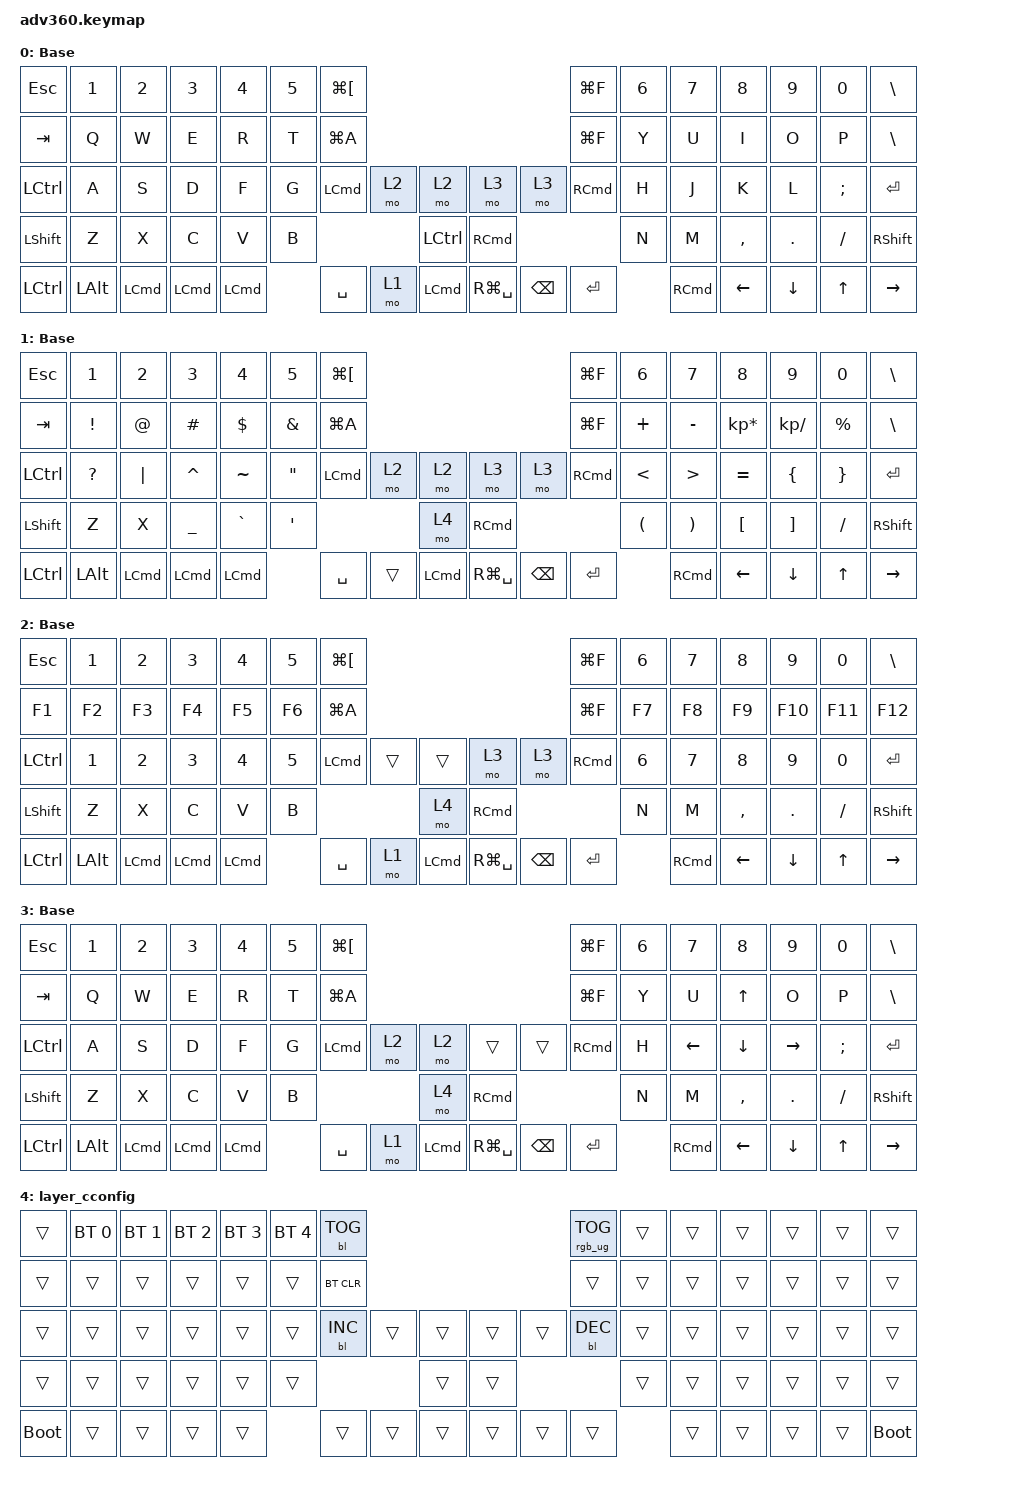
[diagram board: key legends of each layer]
#include <dt-bindings/zmk/stp.h>
#include <behaviors.dtsi>
#include <dt-bindings/zmk/backlight.h>
#include <dt-bindings/zmk/bt.h>
#include <dt-bindings/zmk/keys.h>
#include <dt-bindings/zmk/rgb.h>

/ {
    behaviors {
        #include "macros.dtsi"
      #include "version.dtsi"

        hm: homerow_mods {
            compatible = "zmk,behavior-hold-tap";
            label = "HOMEROW_MODS";
            #binding-cells = <2>;
            tapping-term-ms = <200>;
            quick_tap_ms = <175>;
            flavor = "tap-preferred";
            bindings = <&kp>, <&kp>;
        };
    };

    keymap {
        compatible = "zmk,keymap";

        default_layer {
            display-name = "Base";
            bindings = <
&kp ESC           &kp N1        &kp N2            &kp N3            &kp N4            &kp N5  &kp LG(LEFT_BRACKET)                                                            &kp LG(F)          &kp N6  &kp N7             &kp N8          &kp N9          &kp N0        &kp BACKSLASH
&kp TAB           &kp Q         &kp W             &kp E             &kp R             &kp T   &kp LG(A)                                                                       &kp LG(F)          &kp Y   &kp U              &kp I           &kp O           &kp P         &kp BSLH
&kp LCTRL         &kp A         &kp S             &kp D             &kp F             &kp G   &kp LEFT_COMMAND      &mo 2  &mo 2                 &mo 3              &mo 3     &kp RIGHT_COMMAND  &kp H   &kp J              &kp K           &kp L           &kp SEMI      &kp ENTER
&kp LSHFT         &kp Z         &kp X             &kp C             &kp V             &kp B                                &kp LEFT_CONTROL      &kp RIGHT_COMMAND                               &kp N   &kp M              &kp COMMA       &kp DOT         &kp FSLH      &kp RSHFT
&kp LEFT_CONTROL  &kp LEFT_ALT  &kp LEFT_COMMAND  &kp LEFT_COMMAND  &kp LEFT_COMMAND          &kp SPACE             &mo 1  &kp LEFT_COMMAND      &kp RG(SPACE)      &kp BSPC  &kp ENTER                  &kp RIGHT_COMMAND  &kp LEFT_ARROW  &kp DOWN_ARROW  &kp UP_ARROW  &kp RIGHT_ARROW
            >;
        };

        layer_symbol {
            display-name = "Base";
            bindings = <
&kp ESC           &kp N1        &kp N2            &kp N3            &kp N4            &kp N5             &kp LG(LEFT_BRACKET)                                                             &kp LG(F)          &kp N6                &kp N7                 &kp N8            &kp N9             &kp N0           &kp BACKSLASH
&kp TAB           &kp EXCL      &kp AT            &kp HASH          &kp DOLLAR        &kp AMPERSAND      &kp LG(A)                                                                        &kp LG(F)          &kp PLUS              &kp MINUS              &kp KP_MULTIPLY   &kp KP_SLASH       &kp PERCENT      &kp BSLH
&kp LCTRL         &kp QUESTION  &kp PIPE          &kp CARET         &kp TILDE         &kp DOUBLE_QUOTES  &kp LEFT_COMMAND      &mo 2   &mo 2                 &mo 3              &mo 3     &kp RIGHT_COMMAND  &kp LESS_THAN         &kp GREATER_THAN       &kp EQUAL         &kp LEFT_BRACE     &kp RIGHT_BRACE  &kp ENTER
&kp LSHFT         &kp Z         &kp X             &kp UNDERSCORE    &kp GRAVE         &kp SQT                                          &mo 4                 &kp RIGHT_COMMAND                               &kp LEFT_PARENTHESIS  &kp RIGHT_PARENTHESIS  &kp LEFT_BRACKET  &kp RIGHT_BRACKET  &kp FSLH         &kp RSHFT
&kp LEFT_CONTROL  &kp LEFT_ALT  &kp LEFT_COMMAND  &kp LEFT_COMMAND  &kp LEFT_COMMAND                     &kp SPACE             &trans  &kp LEFT_COMMAND      &kp RG(SPACE)      &kp BSPC  &kp ENTER                                &kp RIGHT_COMMAND      &kp LEFT_ARROW    &kp DOWN_ARROW     &kp UP_ARROW     &kp RIGHT_ARROW
            >;
        };

        layer_number {
            display-name = "Base";
            bindings = <
&kp ESC           &kp N1        &kp N2            &kp N3            &kp N4            &kp N5        &kp LG(LEFT_BRACKET)                                                             &kp LG(F)          &kp N6        &kp N7             &kp N8          &kp N9          &kp N0        &kp BACKSLASH
&kp F1            &kp F2        &kp F3            &kp F4            &kp F5            &kp F6        &kp LG(A)                                                                        &kp LG(F)          &kp F7        &kp F8             &kp F9          &kp F10         &kp F11       &kp F12
&kp LCTRL         &kp NUMBER_1  &kp NUMBER_2      &kp NUMBER_3      &kp NUMBER_4      &kp NUMBER_5  &kp LEFT_COMMAND      &trans  &trans                &mo 3              &mo 3     &kp RIGHT_COMMAND  &kp NUMBER_6  &kp NUMBER_7       &kp NUMBER_8    &kp NUMBER_9    &kp NUMBER_0  &kp ENTER
&kp LSHFT         &kp Z         &kp X             &kp C             &kp V             &kp B                                       &mo 4                 &kp RIGHT_COMMAND                               &kp N         &kp M              &kp COMMA       &kp DOT         &kp FSLH      &kp RSHFT
&kp LEFT_CONTROL  &kp LEFT_ALT  &kp LEFT_COMMAND  &kp LEFT_COMMAND  &kp LEFT_COMMAND                &kp SPACE             &mo 1   &kp LEFT_COMMAND      &kp RG(SPACE)      &kp BSPC  &kp ENTER                        &kp RIGHT_COMMAND  &kp LEFT_ARROW  &kp DOWN_ARROW  &kp UP_ARROW  &kp RIGHT_ARROW
            >;
        };

        layer_direction {
            display-name = "Base";
            bindings = <
&kp ESC           &kp N1        &kp N2            &kp N3            &kp N4            &kp N5  &kp LG(LEFT_BRACKET)                                                            &kp LG(F)          &kp N6  &kp N7             &kp N8          &kp N9           &kp N0        &kp BACKSLASH
&kp TAB           &kp Q         &kp W             &kp E             &kp R             &kp T   &kp LG(A)                                                                       &kp LG(F)          &kp Y   &kp U              &kp UP_ARROW    &kp O            &kp P         &kp BSLH
&kp LCTRL         &kp A         &kp S             &kp D             &kp F             &kp G   &kp LEFT_COMMAND      &mo 2  &mo 2                 &trans             &trans    &kp RIGHT_COMMAND  &kp H   &kp LEFT_ARROW     &kp DOWN_ARROW  &kp RIGHT_ARROW  &kp SEMI      &kp ENTER
&kp LSHFT         &kp Z         &kp X             &kp C             &kp V             &kp B                                &mo 4                 &kp RIGHT_COMMAND                               &kp N   &kp M              &kp COMMA       &kp DOT          &kp FSLH      &kp RSHFT
&kp LEFT_CONTROL  &kp LEFT_ALT  &kp LEFT_COMMAND  &kp LEFT_COMMAND  &kp LEFT_COMMAND          &kp SPACE             &mo 1  &kp LEFT_COMMAND      &kp RG(SPACE)      &kp BSPC  &kp ENTER                  &kp RIGHT_COMMAND  &kp LEFT_ARROW  &kp DOWN_ARROW   &kp UP_ARROW  &kp RIGHT_ARROW
            >;
        };

        layer_cconfig {
            bindings = <
&trans       &bt BT_SEL 0  &bt BT_SEL 1  &bt BT_SEL 2  &bt BT_SEL 3  &bt BT_SEL 4  &bl BL_TOG                                      &rgb_ug RGB_TOG  &trans  &trans  &trans  &trans  &trans  &trans
&trans       &trans        &trans        &trans        &trans        &trans        &bt BT_CLR                                      &trans           &trans  &trans  &trans  &trans  &trans  &trans
&trans       &trans        &trans        &trans        &trans        &trans        &bl BL_INC  &trans  &trans      &trans  &trans  &bl BL_DEC       &trans  &trans  &trans  &trans  &trans  &trans
&trans       &trans        &trans        &trans        &trans        &trans                            &trans      &trans                           &trans  &trans  &trans  &trans  &trans  &trans
&bootloader  &trans        &trans        &trans        &trans                      &trans      &trans  &trans      &trans  &trans  &trans                   &trans  &trans  &trans  &trans  &bootloader
            >;
        };
    };
};
